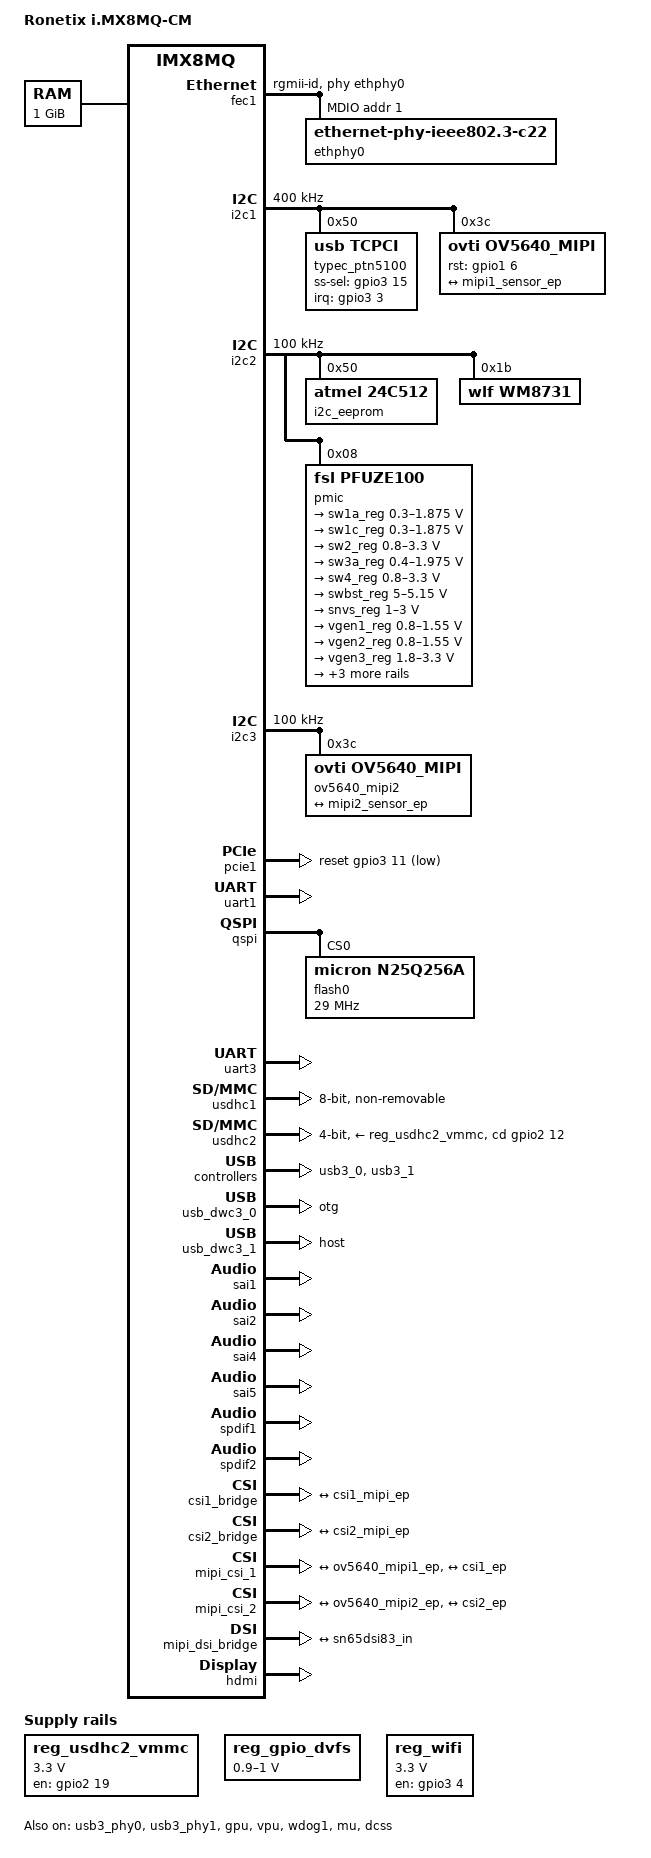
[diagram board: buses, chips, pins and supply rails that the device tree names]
/*
 * Copyright (C) 2016 Freescale Semiconductor, Inc.
 * Copyright 2017 NXP
 *
 * This program is free software; you can redistribute it and/or
 * modify it under the terms of the GNU General Public License
 * as published by the Free Software Foundation; either version 2
 * of the License, or (at your option) any later version.
 *
 * This program is distributed in the hope that it will be useful,
 * but WITHOUT ANY WARRANTY; without even the implied warranty of
 * MERCHANTABILITY or FITNESS FOR A PARTICULAR PURPOSE.  See the
 * GNU General Public License for more details.
 */

/dts-v1/;

#include "fsl-imx8mq.dtsi"

/ {
	model = "Ronetix i.MX8MQ-CM";
	compatible = "fsl,imx8mq-evk", "fsl,imx8mq";

	memory@40000000 {
		device_type = "memory";
		reg = <0x00000000 0x40000000 0 0x40000000>;		/* 1 GB */
	};
	
	resmem: reserved-memory {
		linux,cma {
			/* 
			 * 0x04000000 -  64 MB 
			 * 0x10000000 - 256 MB 
			 * 0x18000000 - 384 MB, when CSI is used 
			 */
			size = <0 0x18000000>;	
		};
	};
	        
	chosen {
		bootargs = "console=ttymxc0,115200 earlycon=ec_imx6q,0x30860000,115200";
		stdout-path = &uart1;
	};

	regulators {
		compatible = "simple-bus";
		#address-cells = <1>;
		#size-cells = <0>;

		reg_usdhc2_vmmc: usdhc2_vmmc {
			compatible = "regulator-fixed";
			regulator-name = "VSD_3V3";
			regulator-min-microvolt = <3300000>;
			regulator-max-microvolt = <3300000>;
			gpio = <&gpio2 19 GPIO_ACTIVE_HIGH>;
			off-on-delay = <20000>;
			enable-active-high;
		};

		reg_gpio_dvfs: regulator-gpio {
			compatible = "regulator-gpio";
			pinctrl-names = "default";
			pinctrl-0 = <&pinctrl_dvfs>;
			regulator-min-microvolt = <900000>;
			regulator-max-microvolt = <1000000>;
			regulator-name = "gpio_dvfs";
			regulator-type = "voltage";
			gpios = <&gpio3 12 GPIO_ACTIVE_HIGH>;
			states = <900000 0x1 1000000 0x0>;
		};
		
		reg_wifi: reg_wifi {
			compatible = "regulator-fixed";
			regulator-name = "WIFI_REG_ON";
			regulator-min-microvolt = <3300000>;
			regulator-max-microvolt = <3300000>;
			gpio = <&gpio3 4 GPIO_ACTIVE_HIGH>;		/* WIFI_PMU_ENABLE, Open-Drain */
			enable-active-high;
			gpio-open-drain;
		};
	};

#if 0
	/* doesn't work
	 * Next PCB revision should implement WM9860 
	 */
	simple_sound: sound {
		compatible = "simple-audio-card";
		simple-audio-card,name = "compulab-imx8mq";
		simple-audio-card,widgets =
			"Headphone", "Headphone Jack",
			"Line", "Line Out",
			"Microphone", "Mic Jack",
			"Line", "Line In";
		simple-audio-card,routing =
			"Headphone Jack", "RHPOUT",
			"Headphone Jack", "LHPOUT",
			"MICIN", "Mic Bias",
			"Mic Bias", "Mic Jack";
		simple-audio-card,format = "i2s";
		simple-audio-card,bitclock-master = <&sound_master>;
		simple-audio-card,frame-master = <&sound_master>;
		simple-audio-card,bitclock-inversion;

		sound_master: simple-audio-card,cpu {
			sound-dai = <&sai2>;
			system-clock-frequency = <0>;
			system-clock-direction = "out";
		};

		sound_codec: simple-audio-card,codec {
			sound-dai = <&wm8731>;
			system-clock-direction = "in";
			system-clock-type = "mclk";
		};
	};
#endif

	sound-hdmi {
		compatible = "fsl,imx8mq-evk-cdnhdmi",
				"fsl,imx-audio-cdnhdmi";
		model = "imx-audio-hdmi";
		audio-cpu = <&sai4>;
		protocol = <1>;
		hdmi-out;
		constraint-rate = <44100>,
				<88200>,
				<176400>,
				<32000>,
				<48000>,
				<96000>,
				<192000>;
		status = "okay";
	};

	sound-spdif {
		compatible = "fsl,imx-audio-spdif";
		model = "imx-spdif";
		spdif-controller = <&spdif1>;
		spdif-out;
		spdif-in;
		status = "disabled";
	};

	sound-hdmi-arc {
		compatible = "fsl,imx-audio-spdif";
		model = "imx-hdmi-arc";
		spdif-controller = <&spdif2>;
		spdif-in;
		status = "disabled";
	};

	backlight: backlight {
		compatible = "pwm-backlight";
		pinctrl-names = "default";
		pinctrl-0 = <&pinctrl_backlight>;
		enable-gpios = <&gpio1 3 GPIO_ACTIVE_HIGH>;
		pwms = <&pwm1 0 1000000 0>;
		brightness-levels = < 0  1  2  3  4  5  6  7  8  9
				     10 11 12 13 14 15 16 17 18 19
				     20 21 22 23 24 25 26 27 28 29
				     30 31 32 33 34 35 36 37 38 39
				     40 41 42 43 44 45 46 47 48 49
				     50 51 52 53 54 55 56 57 58 59
				     60 61 62 63 64 65 66 67 68 69
				     70 71 72 73 74 75 76 77 78 79
				     80 81 82 83 84 85 86 87 88 89
				     90 91 92 93 94 95 96 97 98 99
				    100>;
		default-brightness-level = <80>;
		status = "disabled";
	};
};

&clk {
	assigned-clocks = <&clk IMX8MQ_AUDIO_PLL1>, <&clk IMX8MQ_AUDIO_PLL2>;
	assigned-clock-rates = <786432000>, <722534400>;
};

&iomuxc {
	pinctrl-names = "default";
	pinctrl-0 = <&pinctrl_hog>;

	imx8mq-evk {
		pinctrl_hog: hoggrp {
			fsl,pins = <
					MX8MQ_IOMUXC_GPIO1_IO15_CCMSRCGPCMIX_CLKO2	0x59
					MX8MQ_IOMUXC_NAND_READY_B_GPIO3_IO16		0x19	/* WL_nDISABLE */
			>;
		};

		pinctrl_csi_rst: csi_rst_grp {
			fsl,pins = <
				MX8MQ_IOMUXC_GPIO1_IO06_GPIO1_IO6		0x16
			>;
		};

		pinctrl_fec1: fec1grp {
			fsl,pins = <
				MX8MQ_IOMUXC_ENET_MDC_ENET1_MDC		0x3
				MX8MQ_IOMUXC_ENET_MDIO_ENET1_MDIO	0x23
				MX8MQ_IOMUXC_ENET_TD3_ENET1_RGMII_TD3	0x1f
				MX8MQ_IOMUXC_ENET_TD2_ENET1_RGMII_TD2	0x1f
				MX8MQ_IOMUXC_ENET_TD1_ENET1_RGMII_TD1	0x1f
				MX8MQ_IOMUXC_ENET_TD0_ENET1_RGMII_TD0	0x1f
				MX8MQ_IOMUXC_ENET_RD3_ENET1_RGMII_RD3	0x91
				MX8MQ_IOMUXC_ENET_RD2_ENET1_RGMII_RD2	0x91
				MX8MQ_IOMUXC_ENET_RD1_ENET1_RGMII_RD1	0x91
				MX8MQ_IOMUXC_ENET_RD0_ENET1_RGMII_RD0	0x91
				MX8MQ_IOMUXC_ENET_TXC_ENET1_RGMII_TXC	0x1f
				MX8MQ_IOMUXC_ENET_RXC_ENET1_RGMII_RXC	0x91
				MX8MQ_IOMUXC_ENET_RX_CTL_ENET1_RGMII_RX_CTL	0x91
				MX8MQ_IOMUXC_ENET_TX_CTL_ENET1_RGMII_TX_CTL	0x1f
				MX8MQ_IOMUXC_GPIO1_IO09_GPIO1_IO9	0x19
			>;
		};

		pinctrl_i2c1: i2c1grp {
			fsl,pins = <
				MX8MQ_IOMUXC_I2C1_SCL_I2C1_SCL			0x4000007f
				MX8MQ_IOMUXC_I2C1_SDA_I2C1_SDA			0x4000007f
			>;
		};

		pinctrl_i2c2: i2c2grp {
			fsl,pins = <
				MX8MQ_IOMUXC_I2C2_SCL_I2C2_SCL			0x40000067
				MX8MQ_IOMUXC_I2C2_SDA_I2C2_SDA			0x40000067
			>;
		};

		pinctrl_i2c3: i2c3grp {
			fsl,pins = <
				MX8MQ_IOMUXC_I2C3_SCL_I2C3_SCL			0x40000067
				MX8MQ_IOMUXC_I2C3_SDA_I2C3_SDA			0x40000067
			>;
		};

		/* WiFi */
		pinctrl_pcie0: pcie0grp {
			fsl,pins = <
				MX8MQ_IOMUXC_I2C4_SCL_PCIE1_CLKREQ_B	0x76 	/* PCIE1_nCLKREQ, open drain, pull up */
				MX8MQ_IOMUXC_NAND_WP_B_GPIO3_IO18		0x16	/* WL_nRST */
				MX8MQ_IOMUXC_NAND_WE_B_GPIO3_IO17		0x16	/* WL_nWAKE */
			>;
		};

		pinctrl_pcie1: pcie1grp {
			fsl,pins = <
				MX8MQ_IOMUXC_I2C4_SDA_PCIE2_CLKREQ_B	0x76 	/* PCIE2_nCLKREQ, open drain, pull up */
				MX8MQ_IOMUXC_NAND_DATA05_GPIO3_IO11		0x16	/* PCIe_nRST */
			>;
		};

		pinctrl_dvfs: dvfsgrp {
			fsl,pins = <
				MX8MQ_IOMUXC_NAND_DATA06_GPIO3_IO12	0x16		/* VDD_ARM_VSELECT */
			>;
		};

		pinctrl_typec: typecgrp {
			fsl,pins = <
				MX8MQ_IOMUXC_NAND_RE_B_GPIO3_IO15	0x16		/* USB1_SS_SEL */
				MX8MQ_IOMUXC_NAND_CE2_B_GPIO3_IO3	0x17059		/* TCPC_nINT */
			>;
		};

		pinctrl_qspi: qspigrp {
			fsl,pins = <
				MX8MQ_IOMUXC_NAND_ALE_QSPI_A_SCLK		0x82
				MX8MQ_IOMUXC_NAND_CE0_B_QSPI_A_SS0_B	0x82
				MX8MQ_IOMUXC_NAND_DATA00_QSPI_A_DATA0	0x82
				MX8MQ_IOMUXC_NAND_DATA01_QSPI_A_DATA1	0x82
				MX8MQ_IOMUXC_NAND_DATA02_QSPI_A_DATA2	0x82
				MX8MQ_IOMUXC_NAND_DATA03_QSPI_A_DATA3	0x82
			>;
		};

		pinctrl_uart1: uart1grp {
			fsl,pins = <
				MX8MQ_IOMUXC_UART1_RXD_UART1_DCE_RX		0x49
				MX8MQ_IOMUXC_UART1_TXD_UART1_DCE_TX		0x49
			>;
		};

		pinctrl_uart3: uart3grp {
			fsl,pins = <
				MX8MQ_IOMUXC_UART3_TXD_UART3_DCE_TX			0x49
				MX8MQ_IOMUXC_UART3_RXD_UART3_DCE_RX			0x49
				MX8MQ_IOMUXC_ECSPI1_MISO_UART3_DCE_CTS_B	0x49
				MX8MQ_IOMUXC_ECSPI1_SS0_UART3_DCE_RTS_B		0x49
			>;
		};

		pinctrl_usdhc1: usdhc1grp {
			fsl,pins = <
				MX8MQ_IOMUXC_SD1_CLK_USDHC1_CLK			0x83
				MX8MQ_IOMUXC_SD1_CMD_USDHC1_CMD			0xc3
				MX8MQ_IOMUXC_SD1_DATA0_USDHC1_DATA0		0xc3
				MX8MQ_IOMUXC_SD1_DATA1_USDHC1_DATA1		0xc3
				MX8MQ_IOMUXC_SD1_DATA2_USDHC1_DATA2		0xc3
				MX8MQ_IOMUXC_SD1_DATA3_USDHC1_DATA3		0xc3
				MX8MQ_IOMUXC_SD1_DATA4_USDHC1_DATA4		0xc3
				MX8MQ_IOMUXC_SD1_DATA5_USDHC1_DATA5		0xc3
				MX8MQ_IOMUXC_SD1_DATA6_USDHC1_DATA6		0xc3
				MX8MQ_IOMUXC_SD1_DATA7_USDHC1_DATA7		0xc3
				MX8MQ_IOMUXC_SD1_STROBE_USDHC1_STROBE 		0x83
				MX8MQ_IOMUXC_SD1_RESET_B_USDHC1_RESET_B		0xc1
			>;
		};

		pinctrl_usdhc1_100mhz: usdhc1grp100mhz {
			fsl,pins = <
				MX8MQ_IOMUXC_SD1_CLK_USDHC1_CLK			0x8d
				MX8MQ_IOMUXC_SD1_CMD_USDHC1_CMD			0xcd
				MX8MQ_IOMUXC_SD1_DATA0_USDHC1_DATA0		0xcd
				MX8MQ_IOMUXC_SD1_DATA1_USDHC1_DATA1		0xcd
				MX8MQ_IOMUXC_SD1_DATA2_USDHC1_DATA2		0xcd
				MX8MQ_IOMUXC_SD1_DATA3_USDHC1_DATA3		0xcd
				MX8MQ_IOMUXC_SD1_DATA4_USDHC1_DATA4		0xcd
				MX8MQ_IOMUXC_SD1_DATA5_USDHC1_DATA5		0xcd
				MX8MQ_IOMUXC_SD1_DATA6_USDHC1_DATA6		0xcd
				MX8MQ_IOMUXC_SD1_DATA7_USDHC1_DATA7		0xcd
				MX8MQ_IOMUXC_SD1_STROBE_USDHC1_STROBE		0x8d
				MX8MQ_IOMUXC_SD1_RESET_B_USDHC1_RESET_B		0xc1
			>;
		};

		pinctrl_usdhc1_200mhz: usdhc1grp200mhz {
			fsl,pins = <
				MX8MQ_IOMUXC_SD1_CLK_USDHC1_CLK			0x9f
				MX8MQ_IOMUXC_SD1_CMD_USDHC1_CMD			0xdf
				MX8MQ_IOMUXC_SD1_DATA0_USDHC1_DATA0		0xdf
				MX8MQ_IOMUXC_SD1_DATA1_USDHC1_DATA1		0xdf
				MX8MQ_IOMUXC_SD1_DATA2_USDHC1_DATA2		0xdf
				MX8MQ_IOMUXC_SD1_DATA3_USDHC1_DATA3		0xdf
				MX8MQ_IOMUXC_SD1_DATA4_USDHC1_DATA4		0xdf
				MX8MQ_IOMUXC_SD1_DATA5_USDHC1_DATA5		0xdf
				MX8MQ_IOMUXC_SD1_DATA6_USDHC1_DATA6		0xdf
				MX8MQ_IOMUXC_SD1_DATA7_USDHC1_DATA7		0xdf
				MX8MQ_IOMUXC_SD1_STROBE_USDHC1_STROBE		0x9f
				MX8MQ_IOMUXC_SD1_RESET_B_USDHC1_RESET_B		0xc1
			>;
		};

		pinctrl_usdhc2_gpio: usdhc2grpgpio {
			fsl,pins = <
				MX8MQ_IOMUXC_SD2_CD_B_GPIO2_IO12	0x41	/* SD2_nCD */
				MX8MQ_IOMUXC_SD2_RESET_B_GPIO2_IO19	0x41	/* SD2_nRST */
			>;
		};

		pinctrl_usdhc2: usdhc2grp {
			fsl,pins = <
				MX8MQ_IOMUXC_SD2_CLK_USDHC2_CLK			0x83
				MX8MQ_IOMUXC_SD2_CMD_USDHC2_CMD			0xc3
				MX8MQ_IOMUXC_SD2_DATA0_USDHC2_DATA0		0xc3
				MX8MQ_IOMUXC_SD2_DATA1_USDHC2_DATA1		0xc3
				MX8MQ_IOMUXC_SD2_DATA2_USDHC2_DATA2		0xc3
				MX8MQ_IOMUXC_SD2_DATA3_USDHC2_DATA3		0xc3
				MX8MQ_IOMUXC_GPIO1_IO04_USDHC2_VSELECT	0xc1	/* SD2_VSELECT */
			>;
		};

		pinctrl_usdhc2_100mhz: usdhc2grp100mhz {
			fsl,pins = <
				MX8MQ_IOMUXC_SD2_CLK_USDHC2_CLK			0x8d
				MX8MQ_IOMUXC_SD2_CMD_USDHC2_CMD			0xcd
				MX8MQ_IOMUXC_SD2_DATA0_USDHC2_DATA0		0xcd
				MX8MQ_IOMUXC_SD2_DATA1_USDHC2_DATA1		0xcd
				MX8MQ_IOMUXC_SD2_DATA2_USDHC2_DATA2		0xcd
				MX8MQ_IOMUXC_SD2_DATA3_USDHC2_DATA3		0xcd
				MX8MQ_IOMUXC_GPIO1_IO04_USDHC2_VSELECT	0xc1	/* SD2_VSELECT */
			>;
		};

		pinctrl_usdhc2_200mhz: usdhc2grp200mhz {
			fsl,pins = <
				MX8MQ_IOMUXC_SD2_CLK_USDHC2_CLK			0x9f
				MX8MQ_IOMUXC_SD2_CMD_USDHC2_CMD			0xdf
				MX8MQ_IOMUXC_SD2_DATA0_USDHC2_DATA0		0xdf
				MX8MQ_IOMUXC_SD2_DATA1_USDHC2_DATA1		0xdf
				MX8MQ_IOMUXC_SD2_DATA2_USDHC2_DATA2		0xdf
				MX8MQ_IOMUXC_SD2_DATA3_USDHC2_DATA3		0xdf
				MX8MQ_IOMUXC_GPIO1_IO04_USDHC2_VSELECT	0xc1	/* SD2_VSELECT */
			>;
		};

		pinctrl_sai1_pcm: sai1grp_pcm {
			fsl,pins = <
				MX8MQ_IOMUXC_SAI1_MCLK_SAI1_MCLK		0xd6
				MX8MQ_IOMUXC_SAI1_TXFS_SAI1_TX_SYNC		0xd6
				MX8MQ_IOMUXC_SAI1_RXD7_SAI1_TX_SYNC		0xd6
				MX8MQ_IOMUXC_SAI1_TXC_SAI1_TX_BCLK		0xd6
				MX8MQ_IOMUXC_SAI1_TXD0_SAI1_TX_DATA0		0xd6
				MX8MQ_IOMUXC_SAI1_TXD1_SAI1_TX_DATA1		0xd6
				MX8MQ_IOMUXC_SAI1_TXD2_SAI1_TX_DATA2		0xd6
				MX8MQ_IOMUXC_SAI1_TXD3_SAI1_TX_DATA3		0xd6
				MX8MQ_IOMUXC_SAI1_TXD4_SAI1_TX_DATA4		0xd6
				MX8MQ_IOMUXC_SAI1_TXD5_SAI1_TX_DATA5		0xd6
				MX8MQ_IOMUXC_SAI1_TXD6_SAI1_TX_DATA6		0xd6
				MX8MQ_IOMUXC_SAI1_TXD7_SAI1_TX_DATA7		0xd6
			>;
		};

		pinctrl_sai1_pcm_b2m: sai1grp_pcm_b2m {
			fsl,pins = <
				MX8MQ_IOMUXC_SAI1_MCLK_SAI1_TX_BCLK		0xd6
				MX8MQ_IOMUXC_SAI1_TXFS_SAI1_TX_SYNC		0xd6
				MX8MQ_IOMUXC_SAI1_RXD7_SAI1_TX_SYNC		0xd6
				MX8MQ_IOMUXC_SAI1_TXC_SAI1_TX_BCLK		0xd6
				MX8MQ_IOMUXC_SAI1_TXD0_SAI1_TX_DATA0		0xd6
				MX8MQ_IOMUXC_SAI1_TXD1_SAI1_TX_DATA1		0xd6
				MX8MQ_IOMUXC_SAI1_TXD2_SAI1_TX_DATA2		0xd6
				MX8MQ_IOMUXC_SAI1_TXD3_SAI1_TX_DATA3		0xd6
				MX8MQ_IOMUXC_SAI1_TXD4_SAI1_TX_DATA4		0xd6
				MX8MQ_IOMUXC_SAI1_TXD5_SAI1_TX_DATA5		0xd6
				MX8MQ_IOMUXC_SAI1_TXD6_SAI1_TX_DATA6		0xd6
				MX8MQ_IOMUXC_SAI1_TXD7_SAI1_TX_DATA7		0xd6
			>;
		};

		pinctrl_sai1_dsd: sai1grp_dsd {
			fsl,pins = <
				MX8MQ_IOMUXC_SAI1_MCLK_SAI1_MCLK		0xd6
				MX8MQ_IOMUXC_SAI1_TXFS_SAI1_TX_SYNC		0xd6
				MX8MQ_IOMUXC_SAI1_RXD7_SAI1_TX_DATA4		0xd6
				MX8MQ_IOMUXC_SAI1_TXC_SAI1_TX_BCLK		0xd6
				MX8MQ_IOMUXC_SAI1_TXD0_SAI1_TX_DATA0		0xd6
				MX8MQ_IOMUXC_SAI1_TXD1_SAI1_TX_DATA1		0xd6
				MX8MQ_IOMUXC_SAI1_TXD2_SAI1_TX_DATA2		0xd6
				MX8MQ_IOMUXC_SAI1_TXD3_SAI1_TX_DATA3		0xd6
				MX8MQ_IOMUXC_SAI1_TXD4_SAI1_TX_DATA4		0xd6
				MX8MQ_IOMUXC_SAI1_TXD5_SAI1_TX_DATA5		0xd6
				MX8MQ_IOMUXC_SAI1_TXD6_SAI1_TX_DATA6		0xd6
				MX8MQ_IOMUXC_SAI1_TXD7_SAI1_TX_DATA7		0xd6
			>;
		};

		pinctrl_sai2: sai2grp {
			fsl,pins = <
				MX8MQ_IOMUXC_SAI2_TXFS_SAI2_TX_SYNC	0xd6
				MX8MQ_IOMUXC_SAI2_TXC_SAI2_TX_BCLK	0xd6
				MX8MQ_IOMUXC_SAI2_MCLK_SAI2_MCLK	0xd6
				MX8MQ_IOMUXC_SAI2_TXD0_SAI2_TX_DATA0	0xd6
				MX8MQ_IOMUXC_GPIO1_IO08_GPIO1_IO8	0xd6
			>;
		};

		pinctrl_sai5: sai5grp {
			fsl,pins = <
				MX8MQ_IOMUXC_SAI5_MCLK_SAI5_MCLK	0xd6
				MX8MQ_IOMUXC_SAI5_RXC_SAI5_RX_BCLK	0xd6
				MX8MQ_IOMUXC_SAI5_RXFS_SAI5_RX_SYNC	0xd6
				MX8MQ_IOMUXC_SAI5_RXD0_SAI5_RX_DATA0	0xd6
				MX8MQ_IOMUXC_SAI5_RXD1_SAI5_RX_DATA1    0xd6
				MX8MQ_IOMUXC_SAI5_RXD2_SAI5_RX_DATA2    0xd6
				MX8MQ_IOMUXC_SAI5_RXD3_SAI5_RX_DATA3    0xd6
			>;
		};

		pinctrl_spdif1: spdif1grp {
			fsl,pins = <
				MX8MQ_IOMUXC_SPDIF_TX_SPDIF1_OUT	0xd6
				MX8MQ_IOMUXC_SPDIF_RX_SPDIF1_IN		0xd6
			>;
		};

		pinctrl_wdog: wdoggrp {
			fsl,pins = <
				MX8MQ_IOMUXC_GPIO1_IO02_WDOG1_WDOG_B 0xc6	/* nWDOG */
			>;
		};

		pinctrl_wlan: wlangrp {
			fsl,pins = <
				MX8MQ_IOMUXC_GPIO1_IO00_ANAMIX_REF_CLK_32K	0x16	/* REF_CLK_32K */
			>;
		};

		pinctrl_wlan_init: wlan_initgrp {
			fsl,pins = <
				MX8MQ_IOMUXC_GPIO1_IO00_GPIO1_IO0		0x16	/* REF_CLK_32K */
				MX8MQ_IOMUXC_NAND_CE3_B_GPIO3_IO4		0x36	/* WIFI_PMU_ENABLE, Open-Drain */
				MX8MQ_IOMUXC_NAND_CLE_GPIO3_IO5			0x16	/* WIFI_PWR_DOWN */
			>;
		};

		pinctrl_backlight: backlightgrp {
			fsl,pins = <
					MX8MQ_IOMUXC_GPIO1_IO03_GPIO1_IO3  0x16 	/* LCD_BL_EN */
			>;
		};

		pinctrl_pwm1: pwm1grp {
			fsl,pins = <
				MX8MQ_IOMUXC_GPIO1_IO01_PWM1_OUT 		0x06
			>;
		};

		pinctrl_lvds: lvdsgrp {
			fsl,pins = <
				MX8MQ_IOMUXC_NAND_DATA04_GPIO3_IO10		0x16	/* SN65DSI83 - chip enable */
				MX8MQ_IOMUXC_SAI3_MCLK_GPIO5_IO2		0x16	/* panel enable - just for test */
			>;
		};
	};
};

&fec1 {
	pinctrl-names = "default";
	pinctrl-0 = <&pinctrl_fec1>;
	phy-mode = "rgmii-id";
	phy-handle = <&ethphy0>;
	fsl,magic-packet;
	status = "okay";

	mdio {
		#address-cells = <1>;
		#size-cells = <0>;

		ethphy0: ethernet-phy@1 {
			compatible = "ethernet-phy-ieee802.3-c22";
			reg = <1>;
		};
	};
};

&i2c1 {
	clock-frequency = <400000>;
	pinctrl-names = "default";
	pinctrl-0 = <&pinctrl_i2c1>;
	status = "okay";

	typec_ptn5100: ptn5110@50 {
		compatible = "usb,tcpci";
		pinctrl-names = "default";
		pinctrl-0 = <&pinctrl_typec>;
		reg = <0x50>;
		interrupt-parent = <&gpio3>;
		interrupts = <3 8>;
		ss-sel-gpios = <&gpio3 15 GPIO_ACTIVE_HIGH>;
		src-pdos = <0x380190c8>;
		snk-pdos = <0x380190c8 0x3802d0c8>;
		max-snk-mv = <9000>;
		max-snk-ma = <2000>;
		op-snk-mw = <9000>;
		max-snk-mw = <18000>;
		port-type = "drp";
		default-role = "sink";
	};

	ov5640_mipi: ov5640_mipi@3c {
		compatible = "ovti,ov5640_mipi";
		reg = <0x3c>;
		status = "okay";
		pinctrl-names = "default";
		pinctrl-0 = <&pinctrl_csi_rst>;
		rst-gpios = <&gpio1 6 GPIO_ACTIVE_HIGH>;
		clocks = <&clk IMX8MQ_CLK_CLKO2>;
		clock-names = "csi_mclk";
		assigned-clocks = <&clk IMX8MQ_CLK_CLKO2>;
		assigned-clock-parents = <&clk IMX8MQ_SYS2_PLL_200M>;
		assigned-clock-rates = <20000000>;
		csi_id = <0>;
		mclk = <20000000>;
		mclk_source = <0>;
		port {
			ov5640_mipi1_ep: endpoint {
				remote-endpoint = <&mipi1_sensor_ep>;
			};
		};
	};
};

&i2c2 {
	clock-frequency = <100000>;
	pinctrl-names = "default";
	pinctrl-0 = <&pinctrl_i2c2>;
	status = "okay";

	i2c_eeprom: i2c_eeprom@50 {
        compatible = "atmel,24c512";
        reg = <0x50>;
        pagesize = <128>;
    };

	wm8731: wm8731@1b {
		#sound-dai-cells = <0>;
		compatible = "wlf,wm8731";
		reg = <0x1B>;
		status = "okay";
	};
	
	pmic: pfuze100@08 {
		compatible = "fsl,pfuze100";
		reg = <0x08>;

		regulators {
			sw1a_reg: sw1ab {
				regulator-min-microvolt = <300000>;
				regulator-max-microvolt = <1875000>;
			};

			sw1c_reg: sw1c {
				regulator-min-microvolt = <300000>;
				regulator-max-microvolt = <1875000>;
			};

			sw2_reg: sw2 {
				regulator-min-microvolt = <800000>;
				regulator-max-microvolt = <3300000>;
				regulator-always-on;
			};

			sw3a_reg: sw3ab {
				regulator-min-microvolt = <400000>;
				regulator-max-microvolt = <1975000>;
				regulator-always-on;
			};

			sw4_reg: sw4 {
				regulator-min-microvolt = <800000>;
				regulator-max-microvolt = <3300000>;
				regulator-always-on;
			};

			swbst_reg: swbst {
				regulator-min-microvolt = <5000000>;
				regulator-max-microvolt = <5150000>;
			};

			snvs_reg: vsnvs {
				regulator-min-microvolt = <1000000>;
				regulator-max-microvolt = <3000000>;
				regulator-always-on;
			};

			vref_reg: vrefddr {
				regulator-always-on;
			};

			vgen1_reg: vgen1 {
				regulator-min-microvolt = <800000>;
				regulator-max-microvolt = <1550000>;
			};

			vgen2_reg: vgen2 {
				regulator-min-microvolt = <800000>;
				regulator-max-microvolt = <1550000>;
				regulator-always-on;
			};

			vgen3_reg: vgen3 {
				regulator-min-microvolt = <1800000>;
				regulator-max-microvolt = <3300000>;
				regulator-always-on;
			};

			vgen4_reg: vgen4 {
				regulator-min-microvolt = <1800000>;
				regulator-max-microvolt = <3300000>;
				regulator-always-on;
			};

			vgen5_reg: vgen5 {
				regulator-min-microvolt = <1800000>;
				regulator-max-microvolt = <3300000>;
				regulator-always-on;
			};

			vgen6_reg: vgen6 {
				regulator-min-microvolt = <1800000>;
				regulator-max-microvolt = <3300000>;
			};
		};
	};

	dsi_lvds_bridge: sn65dsi83@2c {
		compatible = "ti,sn65dsi83";
		reg = <0x2c>;
		ti,dsi-lanes = <4>;
		ti,lvds-format = <1>;
		ti,lvds-bpp = <24>;
		ti,width-mm = <152>;
		ti,height-mm = <91>;
		pinctrl-names = "default";
		pinctrl-0 = <&pinctrl_lvds>;
		enable-gpios = <&gpio3 10 GPIO_ACTIVE_HIGH>;
		status = "disabled";
#if 0		
		enable-test-pattern;
#endif		
		
		display-timings {
			/* InnoLux G070Y2-L01 - doesn't work because of
			 * display pixel clock driver limitation to 74.25 MHz
			 * Next PCB revision should implement a 10" 1280x800 display
			 */
			lvds {
				clock-frequency = <29500000>;
				hactive = <800>;
				vactive = <480>;
				
				hfront-porch 	= <91>;	/* 91, 16, 56 */
				hback-porch	 	= <90>; /* 90, 96  96 */
				hsync-len 		= <12>; /* 12, 80  40 */

				vfront-porch 	= <9>; 	/* 9        4*/
				vback-porch 	= <8>;	/* 8       12 */
				vsync-len 		= <2>;  /* 2        4 */
				
				hsync-active = <0>;
				vsync-active = <0>;
				de-active = <1>;
				pixelclk-active = <0>;
			};
		};

		port {
			sn65dsi83_in: endpoint {
				remote-endpoint = <&mipi_dsi_bridge_out>;
			};
		};
	};
};

&pwm1 {
	pinctrl-names = "default";
	pinctrl-0 = <&pinctrl_pwm1>;
	status = "disabled";
};

&i2c3 {
	clock-frequency = <100000>;
	pinctrl-names = "default";
	pinctrl-0 = <&pinctrl_i2c3>;
	status = "okay";
	
	ov5640_mipi2: ov5640_mipi2@3c {
		compatible = "ovti,ov5640_mipi";
		reg = <0x3c>;
		status = "okay";
		clocks = <&clk IMX8MQ_CLK_CLKO2>;
		clock-names = "csi_mclk";
		assigned-clocks = <&clk IMX8MQ_CLK_CLKO2>;
		assigned-clock-parents = <&clk IMX8MQ_SYS2_PLL_200M>;
		assigned-clock-rates = <20000000>;
		csi_id = <1>;
		mclk = <20000000>;
		mclk_source = <0>;
		port {
			ov5640_mipi2_ep: endpoint {
				remote-endpoint = <&mipi2_sensor_ep>;
			};
		};
	};
};

&pcie0 {
	pinctrl-names = "default";
	pinctrl-0 = <&pinctrl_pcie0>;
	disable-gpio = 	<&gpio3 16 GPIO_ACTIVE_LOW>;	/* WL_nDISABLE */
	reset-gpio = <&gpio3 18 GPIO_ACTIVE_LOW>;		/* WL_nRST */
	ext_osc = <1>;
	hard-wired = <1>;
	vpcie-supply = <&reg_wifi>;
	status = "disabled";
};

&pcie1 {
	pinctrl-names = "default";
	pinctrl-0 = <&pinctrl_pcie1>;
	reset-gpio = <&gpio3 11 GPIO_ACTIVE_LOW>;		/* PCIe_nRST */
	ext_osc = <1>;
	status = "okay";
};

&uart1 { /* console */
	pinctrl-names = "default";
	pinctrl-0 = <&pinctrl_uart1>;
	assigned-clocks = <&clk IMX8MQ_CLK_UART1>;
	assigned-clock-parents = <&clk IMX8MQ_CLK_25M>;
	status = "okay";
};

&qspi {
	pinctrl-names = "default";
	pinctrl-0 = <&pinctrl_qspi>;
	status = "okay";

	flash0: n25q256a@0 {
		reg = <0>;
		#address-cells = <1>;
		#size-cells = <1>;
		compatible = "micron,n25q256a";
		spi-max-frequency = <29000000>;
		spi-nor,ddr-quad-read-dummy = <6>;
	};
};

&uart3 { /* BT */
	pinctrl-names = "default";
	pinctrl-0 = <&pinctrl_uart3>;
	assigned-clocks = <&clk IMX8MQ_CLK_UART3>;
	assigned-clock-parents = <&clk IMX8MQ_SYS1_PLL_80M>;
	fsl,uart-has-rtscts;
	status = "okay";
};

&usdhc1 {
	pinctrl-names = "default", "state_100mhz", "state_200mhz";
	pinctrl-0 = <&pinctrl_usdhc1>;
	pinctrl-1 = <&pinctrl_usdhc1_100mhz>;
	pinctrl-2 = <&pinctrl_usdhc1_200mhz>;
	bus-width = <8>;
	non-removable;
	status = "okay";
};

&usdhc2 {
	pinctrl-names = "default", "state_100mhz", "state_200mhz";
	pinctrl-0 = <&pinctrl_usdhc2>, <&pinctrl_usdhc2_gpio>;
	pinctrl-1 = <&pinctrl_usdhc2_100mhz>, <&pinctrl_usdhc2_gpio>;
	pinctrl-2 = <&pinctrl_usdhc2_200mhz>, <&pinctrl_usdhc2_gpio>;
	bus-width = <4>;
	cd-gpios = <&gpio2 12 GPIO_ACTIVE_HIGH>;	/* SD2_nCD */
	vmmc-supply = <&reg_usdhc2_vmmc>;
	status = "okay";
};

&usb3_phy0 {
	status = "okay";
};

&usb3_0 {
	status = "okay";
};

&usb_dwc3_0 {
	status = "okay";
	extcon = <&typec_ptn5100>;
	dr_mode = "otg";
	hnp-disable;
	srp-disable;
	adp-disable;
};

&usb3_phy1 {
	status = "okay";
};

&usb3_1 {
	status = "okay";
};

&usb_dwc3_1 {
	status = "okay";
	dr_mode = "host";
};

&sai1 {
	pinctrl-names = "default", "pcm_b2m", "dsd";
	pinctrl-0 = <&pinctrl_sai1_pcm>;
	pinctrl-1 = <&pinctrl_sai1_pcm_b2m>;
	pinctrl-2 = <&pinctrl_sai1_dsd>;
	assigned-clocks = <&clk IMX8MQ_CLK_SAI1>;
	assigned-clock-parents = <&clk IMX8MQ_AUDIO_PLL1_OUT>;
	assigned-clock-rates = <49152000>;
	clocks = <&clk IMX8MQ_CLK_SAI1_IPG>, <&clk IMX8MQ_CLK_DUMMY>,
		<&clk IMX8MQ_CLK_SAI1_ROOT>, <&clk IMX8MQ_CLK_DUMMY>,
		<&clk IMX8MQ_CLK_DUMMY>, <&clk IMX8MQ_AUDIO_PLL1_OUT>,
		<&clk IMX8MQ_AUDIO_PLL2_OUT>;
	clock-names = "bus", "mclk0", "mclk1", "mclk2", "mclk3", "pll8k", "pll11k";
	fsl,sai-multi-lane;
	fsl,dataline,dsd = <0 0xff 0xff 2 0xff 0x11>;
	dmas = <&sdma2 8 26 0>, <&sdma2 9 26 0>;
	status = "okay";
};

&sai2 {
	#sound-dai-cells = <0>;
	pinctrl-names = "default";
	pinctrl-0 = <&pinctrl_sai2>;
	assigned-clocks = <&clk IMX8MQ_CLK_SAI2>;
	assigned-clock-parents = <&clk IMX8MQ_AUDIO_PLL1_OUT>;
	assigned-clock-rates = <24576000>;
	status = "okay";
};

&sai4 {
	assigned-clocks = <&clk IMX8MQ_CLK_SAI4>;
	assigned-clock-parents = <&clk IMX8MQ_AUDIO_PLL1_OUT>;
	assigned-clock-rates = <24576000>;
	clocks = <&clk IMX8MQ_CLK_SAI4_IPG>, <&clk IMX8MQ_CLK_DUMMY>,
		<&clk IMX8MQ_CLK_SAI4_ROOT>, <&clk IMX8MQ_CLK_DUMMY>,
		<&clk IMX8MQ_CLK_DUMMY>, <&clk IMX8MQ_AUDIO_PLL1_OUT>,
		<&clk IMX8MQ_AUDIO_PLL2_OUT>;
	clock-names = "bus", "mclk0", "mclk1", "mclk2", "mclk3", "pll8k", "pll11k";
	status = "okay";
};

&sai5 {
	pinctrl-names = "default";
	pinctrl-0 = <&pinctrl_sai5>;
	assigned-clocks = <&clk IMX8MQ_CLK_SAI5>;
	assigned-clock-parents = <&clk IMX8MQ_AUDIO_PLL1_OUT>;
	assigned-clock-rates = <49152000>;
	clocks = <&clk IMX8MQ_CLK_SAI5_IPG>, <&clk IMX8MQ_CLK_DUMMY>,
		<&clk IMX8MQ_CLK_SAI5_ROOT>, <&clk IMX8MQ_CLK_DUMMY>,
		<&clk IMX8MQ_CLK_DUMMY>, <&clk IMX8MQ_AUDIO_PLL1_OUT>,
		<&clk IMX8MQ_AUDIO_PLL2_OUT>;
	clock-names = "bus", "mclk0", "mclk1", "mclk2", "mclk3", "pll8k", "pll11k";
	fsl,sai-asynchronous;
	status = "okay";
};

&spdif1 {
	pinctrl-names = "default";
	pinctrl-0 = <&pinctrl_spdif1>;
	assigned-clocks = <&clk IMX8MQ_CLK_SPDIF1>;
	assigned-clock-parents = <&clk IMX8MQ_AUDIO_PLL1_OUT>;
	assigned-clock-rates = <24576000>;
	status = "okay";
};

&spdif2 {
	assigned-clocks = <&clk IMX8MQ_CLK_SPDIF2>;
	assigned-clock-parents = <&clk IMX8MQ_AUDIO_PLL1_OUT>;
	assigned-clock-rates = <24576000>;
	status = "okay";
};

&gpu_pd {
	power-supply = <&sw1a_reg>;
};

&vpu_pd {
	power-supply = <&sw1c_reg>;
};

&gpu {
	status = "okay";
};

&vpu {
	status = "okay";
};

&wdog1 {
	pinctrl-names = "default";
	pinctrl-0 = <&pinctrl_wdog>;
	fsl,ext-reset-output;
	status = "okay";
};

&mu {
	status = "okay";
};

&A53_0 {
	operating-points = <
		/* kHz    uV */
		1500000 1000000
		1300000 1000000
		1000000 900000
		800000  900000
	>;
	dc-supply = <&reg_gpio_dvfs>;
};

&csi1_bridge {
	fsl,mipi-mode;
	fsl,two-8bit-sensor-mode;
	status = "okay";

	port {
		csi1_ep: endpoint {
			remote-endpoint = <&csi1_mipi_ep>;
		};
	};
};

&csi2_bridge {
	fsl,mipi-mode;
	fsl,two-8bit-sensor-mode;
	status = "okay";

	port {
		csi2_ep: endpoint {
			remote-endpoint = <&csi2_mipi_ep>;
		};
	};
};

&mipi_csi_1 {
	#address-cells = <1>;
	#size-cells = <0>;
	status = "okay";
	port {
		mipi1_sensor_ep: endpoint1 {
			remote-endpoint = <&ov5640_mipi1_ep>;
			data-lanes = <1 2>;
		};

		csi1_mipi_ep: endpoint2 {
			remote-endpoint = <&csi1_ep>;
		};
	};
};

&mipi_csi_2 {
	#address-cells = <1>;
	#size-cells = <0>;
	status = "okay";
	port {
		mipi2_sensor_ep: endpoint1 {
			remote-endpoint = <&ov5640_mipi2_ep>;
			data-lanes = <1 2>;
		};

		csi2_mipi_ep: endpoint2 {
			remote-endpoint = <&csi2_ep>;
		};
	};
};

&mipi_dsi_bridge {
	status = "disabled";

	port@1 {
		mipi_dsi_bridge_out: endpoint {
			remote-endpoint = <&sn65dsi83_in>;
		};
	};
};


#if 0
/* enable LCD to LVDS - doesn't work
 * to be tested with 10" LCD 1280x800
 * ----------------------------------------------------------------------------- 
 */
&lcdif {
	status = "okay";
    max-res = <800>, <480>;
	port@0 {
		lcdif_mipi_dsi: mipi-dsi-endpoint {
			remote-endpoint = <&mipi_dsi_in>;
		};
	};
};

&mipi_dsi_phy {
	status = "okay";
};

&mipi_dsi {
	status = "okay";
	as_bridge;
	sync-pol = <1>;

	port@1 {
		mipi_dsi_in: endpoint {
			remote-endpoint = <&lcdif_mipi_dsi>;
		};
	};
};

&mipi_dsi_bridge {
	status = "disabled";

	port@1 {
		mipi_dsi_bridge_out: endpoint {
			remote-endpoint = <&sn65dsi83_in>;
		};
	};
};

&mipi_dsi_bridge {
	status = "okay";
};

&pwm1 {
	status = "okay";
};

&backlight {
	status = "okay";
};

&dsi_lvds_bridge {
	status = "okay";
};
#endif

#if 1
/* enable HDMI */
&dcss {
	status = "okay";
	disp-dev = "hdmi_disp";
};

&hdmi {
	status = "okay";
};

&mipi_dsi_bridge {
	status = "okay";
};

#endif
